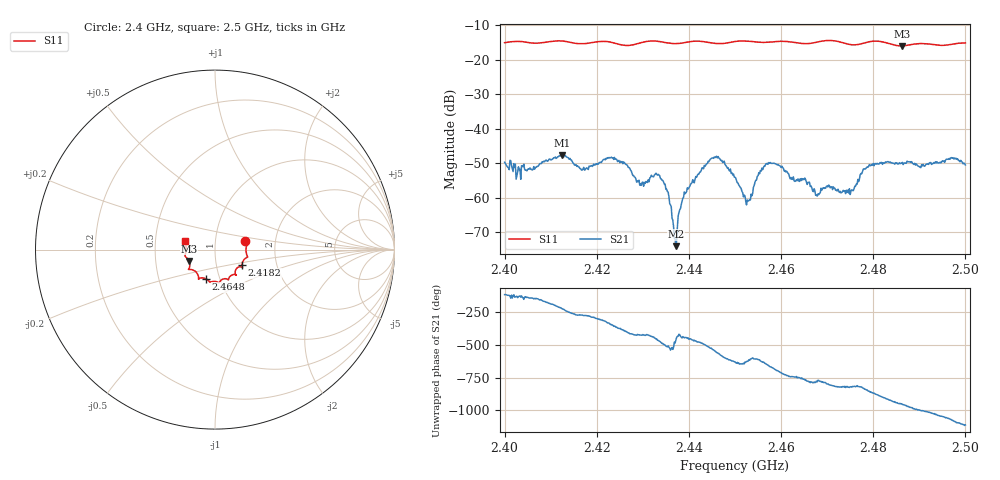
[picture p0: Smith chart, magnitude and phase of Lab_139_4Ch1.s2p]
# Hz S RI R 50
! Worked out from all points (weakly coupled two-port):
!   601 points, 2.4 GHz to 2.5 GHz, reference 50 ohm
!   highest |S21| = -47.74 dB at 2.4125 GHz (marker M1); lowest = -74.1 dB at 2.4372 GHz (marker M2)
!   lowest |S11| = -16.1 dB at 2.4862 GHz (marker M3), VSWR 1.37, Z = 37.1 - j4.81 ohm
!   |S11| at or under -10 dB: start of sweep to end of sweep
!   S12 and S22 are empty: the file has one direction only
!   S11 on the Smith chart (normalised r, x): 2.4 GHz: 1.40, +0.13; 2.4182 GHz: 1.33, -0.23; 2.4648 GHz: 0.86, -0.29; 2.5 GHz: 0.71, +0.07
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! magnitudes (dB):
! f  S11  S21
! 2.4 GHz  -15.1  -49.7
! 2.403 GHz  -14.7  -51.1
! 2.4125 GHz  -14.6  -47.7
! 2.4167 GHz  -15.4  -52.0
! 2.4182 GHz  -15.3  -51.8
! 2.423 GHz  -15.0  -48.4
! 2.4298 GHz  -15.0  -55.6
! 2.4333 GHz  -14.7  -53.3
! 2.4352 GHz  -15.2  -57.6
! 2.4372 GHz  -15.4  -74.1
! 2.4392 GHz  -15.1  -58.9
! 2.4447 GHz  -15.1  -48.9
! 2.45 GHz  -14.8  -54.1
! 2.4528 GHz  -14.7  -61.0
! 2.4572 GHz  -15.0  -50.3
! 2.4648 GHz  -15.4  -54.6
! 2.4667 GHz  -15.3  -57.1
! 2.4752 GHz  -15.7  -58.1
! 2.4783 GHz  -15.1  -51.6
! 2.4833 GHz  -15.3  -49.7
! 2.4862 GHz  -16.1  -50.0
! 2.5 GHz  -15.2  -50.5
